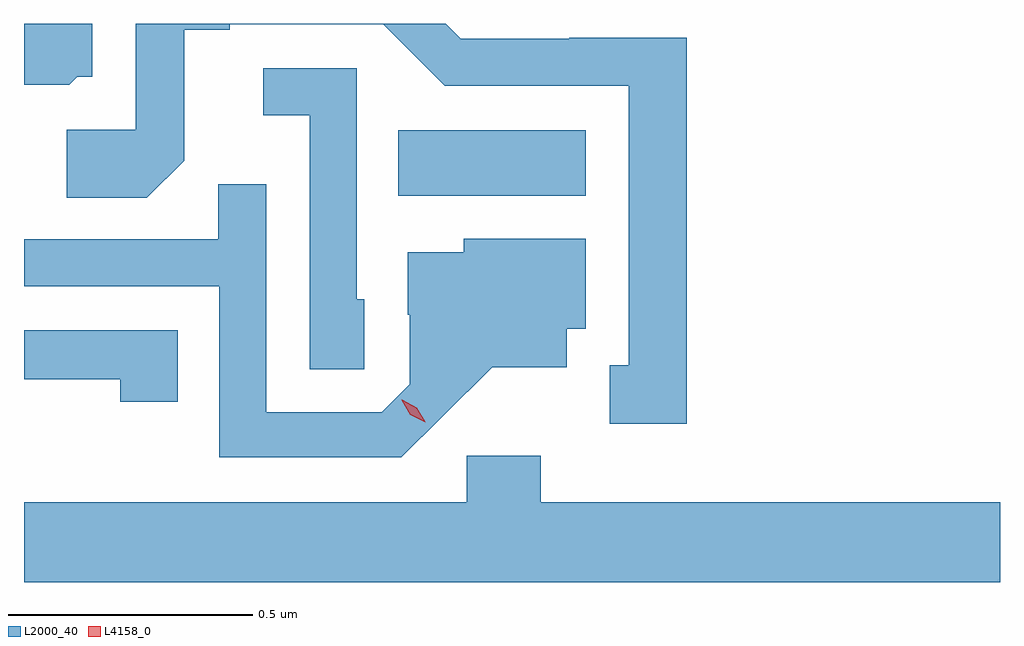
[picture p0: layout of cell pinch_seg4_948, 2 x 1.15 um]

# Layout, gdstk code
import gdstk
lib = gdstk.Library(unit=1e-6, precision=1e-09)
def R(c, l, rs):  # rectangles x0, y0, x1, y1
    for r in rs: c.add(gdstk.rectangle(r[:2], r[2:], *l))
def P(c, l, *ps):  # polygons
    for p in ps: c.add(gdstk.Polygon(p, *l))
L2000_40 = (2000, 40)
L4158_0 = (4158, 0)

pinch_seg4_948 = lib.new_cell('pinch_seg4_948')
R(pinch_seg4_948, L2000_40, [(651.52,800.276,651.904,800.41)])
P(pinch_seg4_948, L2000_40, [(652.111,800.6),(651.87,800.6),(651.87,800.598),(651.648,800.598),(651.617,800.629),(650.982,800.629),(650.982,800.412),(650.841,800.412),(650.841,800.272),(651.005,800.272),(651.081,800.348),(651.081,800.616),(651.175,800.616),(651.175,800.628),(651.489,800.628),(651.615,800.502),(651.992,800.502),(651.992,799.929),(651.953,799.929),(651.953,799.809),(652.111,799.809)],
  [(650.862,800.52),(650.893,800.52),(650.893,800.629),(650.753,800.629),(650.753,800.504),(650.846,800.504)],
  [(651.45,800.064),(651.435,800.064),(651.435,800.538),(651.243,800.538),(651.243,800.441),(651.339,800.441),(651.339,799.921),(651.45,799.921)],
  [(651.61,799.823),(651.713,799.925),(651.865,799.925),(651.865,800.004),(651.904,800.004),(651.904,800.188),(651.654,800.188),(651.654,800.161),(651.539,800.161),(651.539,800.032),(651.543,800.032),(651.543,799.89),(651.486,799.833),(651.249,799.833),(651.249,800.3),(651.151,800.3),(651.151,800.187),(650.753,800.187),(650.753,800.091),(651.153,800.091),(651.153,799.74),(651.526,799.74)],
  [(651.068,800.001),(650.753,800.001),(650.753,799.9),(650.95,799.9),(650.95,799.854),(651.068,799.854)],
  [(652.753,799.648),(651.812,799.648),(651.812,799.744),(651.66,799.744),(651.66,799.648),(650.753,799.648),(650.753,799.484),(652.753,799.484)])
P(pinch_seg4_948, L4158_0, [(651.575,799.812),(651.544,799.828),(651.527,799.857),(651.527,799.858),(651.528,799.858),(651.558,799.842),(651.575,799.813),(651.575,799.812)])

lib.write_gds('pinch_seg4_948.gds')
